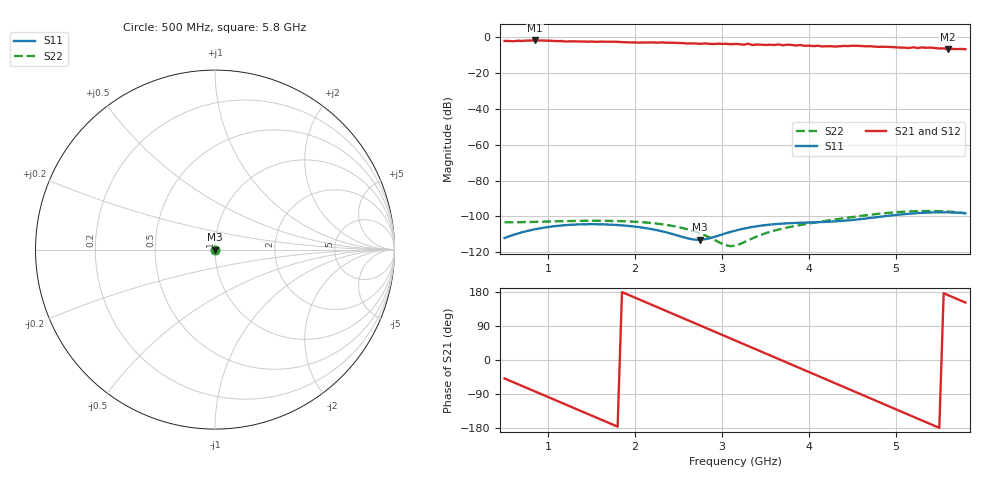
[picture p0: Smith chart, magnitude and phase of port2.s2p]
# GHZ S RI R 50
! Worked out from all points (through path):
!   107 points, 500 MHz to 5.8 GHz, reference 50 ohm
!   highest |S21| = -1.89 dB at 850 MHz (marker M1); lowest = -6.8 dB at 5.6 GHz (marker M2)
!   group delay of S21, straight-line fit = 272 ps
!   lowest |S11| = -113.0 dB at 2.75 GHz (marker M3), VSWR 1.00, Z = 50 - j0.000208 ohm
!   |S11| at or under -10 dB: start of sweep to end of sweep
!   |S22| runs from -116.6 to -97.0 dB; largest |S21 - S12| = 1.4e-15
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0.5  9.5e-07 2.32e-06  0.5131 -0.5866  0.5131 -0.5866  5.8e-06 3.69e-06
0.85  4.11e-06 1.57e-06  0.0979 -0.7989  0.0979 -0.7989  6.47e-06 2.86e-06
1.15  5.41e-06 -1.41e-06  -0.295 -0.7185  -0.295 -0.7185  7.17e-06 1.72e-06
1.4  4.42e-06 -4.13e-06  -0.5476 -0.515  -0.5476 -0.515  7.54e-06 3.02e-07
1.6  2.52e-06 -5.5e-06  -0.6839 -0.3  -0.6839 -0.3  7.48e-06 -1.1e-06
1.8  3.28e-07 -5.75e-06  -0.733 -0.0528  -0.733 -0.0528  6.96e-06 -2.62e-06
2.1  -2.04e-06 -4.38e-06  -0.6378 0.3008  -0.6378 0.3008  5.02e-06 -4.68e-06
2.3  -2.43e-06 -3.06e-06  -0.5038 0.501  -0.5038 0.501  2.94e-06 -5.37e-06
2.55  -1.74e-06 -2.02e-06  -0.2398 0.6366  -0.2398 0.6366  6.68e-08 -4.74e-06
2.75  -8.33e-07 -2.08e-06  -0.0114 0.6461  -0.0114 0.6461  -1.57e-06 -2.97e-06
2.95  -2e-07 -2.87e-06  0.209 0.6206  0.209 0.6206  -1.9e-06 -6.33e-07
3.15  -2.15e-07 -4e-06  0.3977 0.5047  0.3977 0.5047  -7.5e-07 1.33e-06
3.3  -6.89e-07 -4.8e-06  0.5208 0.393  0.5208 0.393  8.09e-07 2e-06
3.65  -2.69e-06 -5.6e-06  0.6252 0.0295  0.6252 0.0295  4.32e-06 2.57e-08
3.9  -4.09e-06 -5.28e-06  0.5564 -0.223  0.5564 -0.223  4.57e-06 -3.54e-06
4.05  -4.73e-06 -4.97e-06  0.4503 -0.334  0.4503 -0.334  3.34e-06 -5.75e-06
4.5  -6.55e-06 -4.55e-06  0.0916 -0.5652  0.0916 -0.5652  -5.36e-06 -8e-06
4.7  -7.85e-06 -4.46e-06  -0.1012 -0.5476  -0.1012 -0.5476  -9.73e-06 -5.36e-06
4.95  -9.99e-06 -3.72e-06  -0.3022 -0.4307  -0.3022 -0.4307  -1.28e-05 9.38e-07
5.3  -1.26e-05 -6.74e-07  -0.4825 -0.1812  -0.4825 -0.1812  -9.35e-06 1.06e-05
5.6  -1.26e-05 3.02e-06  -0.4515 0.0698  -0.4515 0.0698  -1.01e-06 1.36e-05
5.8  -1.13e-05 4.96e-06  -0.4032 0.2174  -0.4032 0.2174  4.33e-06 1.15e-05
